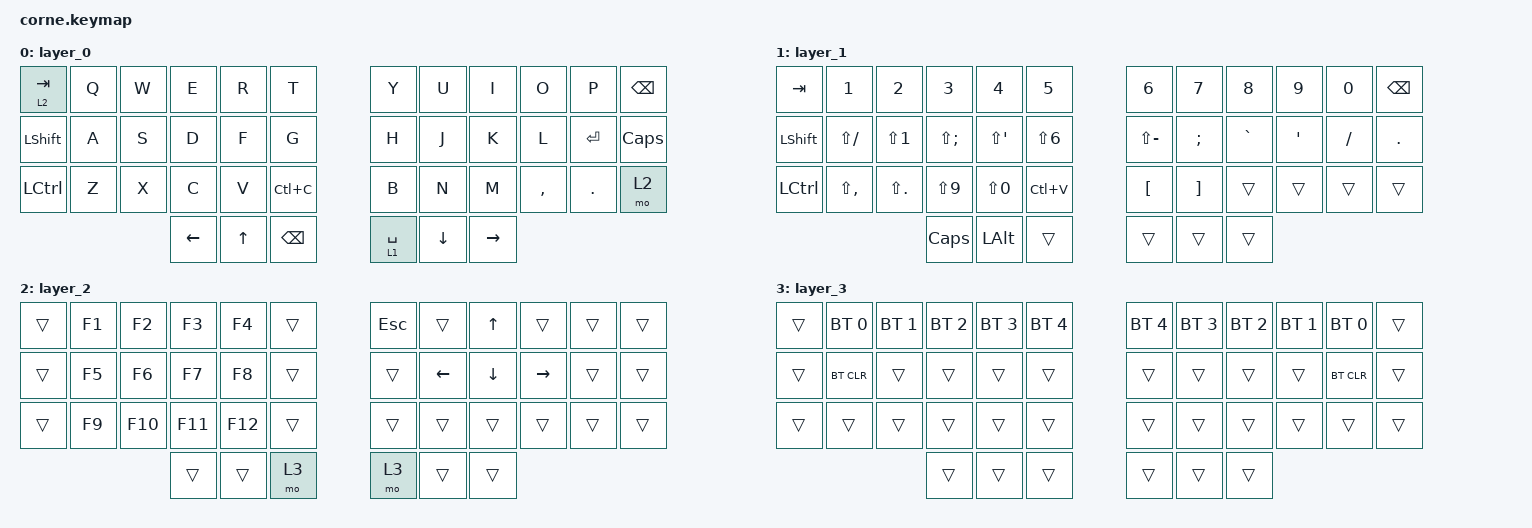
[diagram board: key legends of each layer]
/*
 * Copyright (c) 2020 The ZMK Contributors
 *
 * SPDX-License-Identifier: MIT
 */

#include <behaviors.dtsi>
#include <dt-bindings/zmk/bt.h>
#include <dt-bindings/zmk/keys.h>

/ {
    combos {
        compatible = "zmk,combos";

        esc {
            bindings = <&kp ESC>;
            key-positions = <5 6>;
        };
    };

    behaviors {
        tab_esc_ctrl: tab_esc_ctrl {
            compatible = "zmk,behavior-tap-dance";
            label = "TAB_ESC_CTRL";
            #binding-cells = <0>;
            bindings = <&mt LCTRL ESC>, <&kp TAB>;
        };

        gqt: global-quick-tap {
            compatible = "zmk,behavior-hold-tap";
            label = "GLOBAL_QUICK_TAP";
            bindings = <&kp>, <&kp>;

            #binding-cells = <2>;
            tapping-term-ms = <200>;
            quick-tap-ms = <180>;
            global-quick-tap;
            flavor = "tap-preferred";
        };

        ltq: ltq {
            compatible = "zmk,behavior-hold-tap";
            label = "LTQ";
            bindings = <&mo>, <&kp>;

            #binding-cells = <2>;
            tapping-term-ms = <200>;
            quick-tap-ms = <180>;
            global-quick-tap;
        };
    };

    keymap {
        compatible = "zmk,keymap";

        layer_0 {
            bindings = <
&lt 2 TAB       &kp Q  &kp W  &kp E     &kp R   &kp T            &kp Y        &kp U     &kp I      &kp O      &kp P       &kp BACKSPACE
&kp LEFT_SHIFT  &kp A  &kp S  &kp D     &kp F   &kp G            &kp H        &kp J     &kp K      &kp L      &kp ENTER   &kp CAPSLOCK
&kp LCTRL       &kp Z  &kp X  &kp C     &kp V   &kp LC(C)        &kp B        &kp N     &kp M      &kp COMMA  &kp PERIOD  &mo 2
                              &kp LEFT  &kp UP  &kp BACKSPACE    &lt 1 SPACE  &kp DOWN  &kp RIGHT
            >;
        };

        layer_1 {
            bindings = <
&kp TAB     &kp NUMBER_1   &kp NUMBER_2      &kp NUMBER_3       &kp NUMBER_4  &kp N5              &kp NUMBER_6      &kp N7             &kp N8     &kp N9   &kp N0     &kp BACKSPACE
&kp LSHIFT  &kp LS(SLASH)  &kp LS(NUMBER_1)  &kp LS(SEMICOLON)  &kp LS(SQT)   &kp LS(NUMBER_6)    &kp LS(MINUS)     &kp SEMICOLON      &kp GRAVE  &kp SQT  &kp SLASH  &kp PERIOD
&kp LCTRL   &kp LS(COMMA)  &kp LS(PERIOD)    &kp LS(N9)         &kp LS(N0)    &kp LC(V)           &kp LEFT_BRACKET  &kp RIGHT_BRACKET  &trans     &trans   &trans     &trans
                                             &kp CAPSLOCK       &kp LEFT_ALT  &trans              &trans            &trans             &trans
            >;
        };

        layer_2 {
            bindings = <
&trans  &kp F1  &kp F2   &kp F3   &kp F4   &trans    &kp ESC  &trans    &kp UP    &trans     &trans  &trans
&trans  &kp F5  &kp F6   &kp F7   &kp F8   &trans    &trans   &kp LEFT  &kp DOWN  &kp RIGHT  &trans  &trans
&trans  &kp F9  &kp F10  &kp F11  &kp F12  &trans    &trans   &trans    &trans    &trans     &trans  &trans
                         &trans   &trans   &mo 3     &mo 3    &trans    &trans
            >;
        };

        layer_3 {
            bindings = <
&trans  &bt BT_SEL 0  &bt BT_SEL 1  &bt BT_SEL 2  &bt BT_SEL 3  &bt BT_SEL 4    &bt BT_SEL 4  &bt BT_SEL 3  &bt BT_SEL 2  &bt BT_SEL 1  &bt BT_SEL 0  &trans
&trans  &bt BT_CLR    &trans        &trans        &trans        &trans          &trans        &trans        &trans        &trans        &bt BT_CLR    &trans
&trans  &trans        &trans        &trans        &trans        &trans          &trans        &trans        &trans        &trans        &trans        &trans
                                    &trans        &trans        &trans          &trans        &trans        &trans
            >;
        };
    };
};
